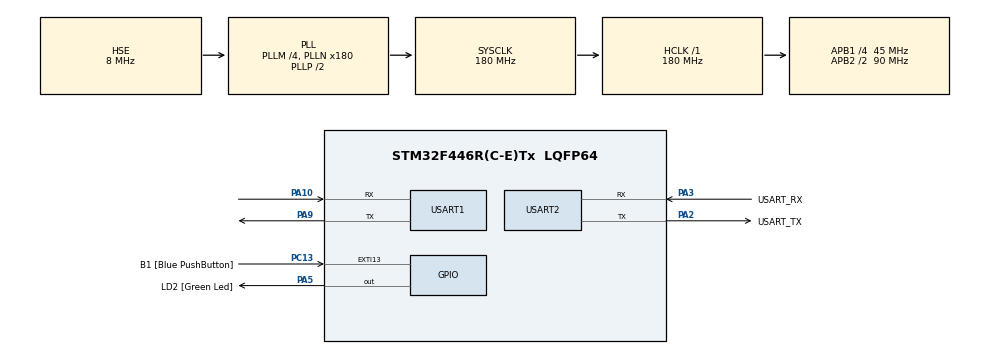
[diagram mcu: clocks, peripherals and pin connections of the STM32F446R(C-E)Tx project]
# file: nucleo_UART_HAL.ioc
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Mcu.Family=STM32F4
Mcu.Name=STM32F446R(C-E)Tx
Mcu.Package=LQFP64
NVIC.PriorityGroup=NVIC_PRIORITYGROUP_0
NVIC.TIM2_IRQn=true\:0\:0\:false\:false\:true\:true\:true\:true
PA10.Mode=Asynchronous
PA10.Signal=USART1_RX
PA13.GPIO_Label=TMS
PA13.Mode=Serial_Wire
PA13.Signal=SYS_JTMS-SWDIO
PA14.GPIO_Label=TCK
PA14.Mode=Serial_Wire
PA14.Signal=SYS_JTCK-SWCLK
PA2.GPIO_Label=USART_TX
PA2.Mode=Asynchronous
PA2.Signal=USART2_TX
PA3.GPIO_Label=USART_RX
PA3.Mode=Asynchronous
PA3.Signal=USART2_RX
PA5.GPIO_Label=LD2 [Green Led]
PA5.Signal=GPIO_Output
PA9.Mode=Asynchronous
PA9.Signal=USART1_TX
PB3.GPIO_Label=SWO
PB3.Signal=SYS_JTDO-SWO
PC13.GPIO_Label=B1 [Blue PushButton]
PC13.GPIO_ModeDefaultEXTI=GPIO_MODE_IT_FALLING
PC13.Signal=GPXTI13
PC14-OSC32_IN.Mode=LSE-External-Oscillator
PC14-OSC32_IN.Signal=RCC_OSC32_IN
PC15-OSC32_OUT.Mode=LSE-External-Oscillator
PC15-OSC32_OUT.Signal=RCC_OSC32_OUT
PH0-OSC_IN.Mode=HSE-External-Oscillator
PH0-OSC_IN.Signal=RCC_OSC_IN
PH1-OSC_OUT.Mode=HSE-External-Oscillator
PH1-OSC_OUT.Signal=RCC_OSC_OUT
ProjectManager.HeapSize=0x200
ProjectManager.StackSize=0x400
ProjectManager.TargetToolchain=STM32CubeIDE
RCC.48MHZClocksFreq_Value=84000000
RCC.AHBFreq_Value=180000000
RCC.APB1CLKDivider=RCC_HCLK_DIV4
RCC.APB1Freq_Value=45000000
RCC.APB1TimFreq_Value=90000000
RCC.APB2CLKDivider=RCC_HCLK_DIV2
RCC.APB2Freq_Value=90000000
RCC.APB2TimFreq_Value=180000000
RCC.CortexFreq_Value=180000000
RCC.FLatency-AdvancedSettings=FLASH_LATENCY_5
RCC.HCLKFreq_Value=180000000
RCC.HSE_VALUE=8000000
RCC.HSI_VALUE=16000000
RCC.PLLM=4
RCC.PLLN=180
RCC.PLLSourceVirtual=RCC_PLLSOURCE_HSE
RCC.SYSCLKFreq_VALUE=180000000
RCC.SYSCLKSource=RCC_SYSCLKSOURCE_PLLCLK
RCC.USBFreq_Value=180000000
RCC.VCOOutputFreq_Value=360000000
TIM2.Period=17999
TIM2.Prescaler=9999
USART1.VirtualMode=VM_ASYNC
USART2.VirtualMode=VM_ASYNC
VP_TIM2_VS_ClockSourceINT.Mode=Internal
board=NUCLEO-F446RE

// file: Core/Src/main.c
/* USER CODE BEGIN Header */
/**
  ******************************************************************************
  * @file           : main.c
  * @brief          : Main program body
  ******************************************************************************
  * @attention
  *
  * Copyright (c) 2025 STMicroelectronics.
  * All rights reserved.
  *
  * This software is licensed under terms that can be found in the LICENSE file
  * in the root directory of this software component.
  * If no LICENSE file comes with this software, it is provided AS-IS.
  *
  ******************************************************************************
  */
/* USER CODE END Header */
#include "main.h"

/* USER CODE BEGIN Includes */
#include <stdio.h>
/* USER CODE END Includes */

/* USER CODE BEGIN PD */
#define TICK_DELAY 1000
/* USER CODE END PD */

TIM_HandleTypeDef htim2;

UART_HandleTypeDef huart1;
UART_HandleTypeDef huart2;

/* USER CODE BEGIN PV */
uint8_t ding_flag;
/* USER CODE END PV */

void SystemClock_Config(void);
static void MX_GPIO_Init(void);
static void MX_USART2_UART_Init(void);
static void MX_USART1_UART_Init(void);
static void MX_TIM2_Init(void);

/* USER CODE BEGIN 0 */
// Send printf to uart1
int _write(int fd, char* ptr, int len) {
  HAL_StatusTypeDef hstatus;

  if (fd == 1 || fd == 2) {
    hstatus = HAL_UART_Transmit(&huart2, (uint8_t *) ptr, len, HAL_MAX_DELAY);
    if (hstatus == HAL_OK)
      return len;
    else
      return -1;
  }
  return -1;
}
void HAL_TIM_PeriodElapsedCallback(TIM_HandleTypeDef *htim){
	++ding_flag;
}
/* USER CODE END 0 */

int main(void)
{

  /* MCU Configuration--------------------------------------------------------*/

  /* Reset of all peripherals, Initializes the Flash interface and the Systick. */
  HAL_Init();

  /* Configure the system clock */
  SystemClock_Config();

  /* Initialize all configured peripherals */
  MX_GPIO_Init();
  MX_USART2_UART_Init();
  MX_USART1_UART_Init();
  MX_TIM2_Init();
  /* USER CODE BEGIN 2 */
  HAL_TIM_Base_Start_IT(&htim2);
  /* USER CODE END 2 */

  /* Infinite loop */
  /* USER CODE BEGIN WHILE */
  uint8_t arr[] = {'H','e','l','l','o',' ','w','o','r','l','d','\n'};
  uint32_t now = 0, next_tick = TICK_DELAY;
  while (1)
  {

	  now = HAL_GetTick();

	  if (now >= next_tick){
		  printf("Tick %lu\n",now/1000);
		  next_tick = now + TICK_DELAY;
	  }

	  if (ding_flag){
		  HAL_UART_Transmit(&huart1,arr, sizeof(arr), 1000);
		  ding_flag = 0;
	  }
    /* USER CODE END WHILE */

  }
}

void SystemClock_Config(void)
{
  RCC_OscInitTypeDef RCC_OscInitStruct = {0};
  RCC_ClkInitTypeDef RCC_ClkInitStruct = {0};

  /** Configure the main internal regulator output voltage
  */
  __HAL_RCC_PWR_CLK_ENABLE();
  __HAL_PWR_VOLTAGESCALING_CONFIG(PWR_REGULATOR_VOLTAGE_SCALE1);

  /** Initializes the RCC Oscillators according to the specified parameters
  * in the RCC_OscInitTypeDef structure.
  */
  RCC_OscInitStruct.OscillatorType = RCC_OSCILLATORTYPE_HSE;
  RCC_OscInitStruct.HSEState = RCC_HSE_ON;
  RCC_OscInitStruct.PLL.PLLState = RCC_PLL_ON;
  RCC_OscInitStruct.PLL.PLLSource = RCC_PLLSOURCE_HSE;
  RCC_OscInitStruct.PLL.PLLM = 4;
  RCC_OscInitStruct.PLL.PLLN = 180;
  RCC_OscInitStruct.PLL.PLLP = RCC_PLLP_DIV2;
  RCC_OscInitStruct.PLL.PLLQ = 2;
  RCC_OscInitStruct.PLL.PLLR = 2;
  if (HAL_RCC_OscConfig(&RCC_OscInitStruct) != HAL_OK)
  {
    Error_Handler();
  }

  /** Activate the Over-Drive mode
  */
  if (HAL_PWREx_EnableOverDrive() != HAL_OK)
  {
    Error_Handler();
  }

  /** Initializes the CPU, AHB and APB buses clocks
  */
  RCC_ClkInitStruct.ClockType = RCC_CLOCKTYPE_HCLK|RCC_CLOCKTYPE_SYSCLK
                              |RCC_CLOCKTYPE_PCLK1|RCC_CLOCKTYPE_PCLK2;
  RCC_ClkInitStruct.SYSCLKSource = RCC_SYSCLKSOURCE_PLLCLK;
  RCC_ClkInitStruct.AHBCLKDivider = RCC_SYSCLK_DIV1;
  RCC_ClkInitStruct.APB1CLKDivider = RCC_HCLK_DIV4;
  RCC_ClkInitStruct.APB2CLKDivider = RCC_HCLK_DIV2;

  if (HAL_RCC_ClockConfig(&RCC_ClkInitStruct, FLASH_LATENCY_5) != HAL_OK)
  {
    Error_Handler();
  }
}

static void MX_TIM2_Init(void)
{

  TIM_ClockConfigTypeDef sClockSourceConfig = {0};
  TIM_MasterConfigTypeDef sMasterConfig = {0};

  htim2.Instance = TIM2;
  htim2.Init.Prescaler = 9999;
  htim2.Init.CounterMode = TIM_COUNTERMODE_UP;
  htim2.Init.Period = 17999;
  htim2.Init.ClockDivision = TIM_CLOCKDIVISION_DIV1;
  htim2.Init.AutoReloadPreload = TIM_AUTORELOAD_PRELOAD_DISABLE;
  if (HAL_TIM_Base_Init(&htim2) != HAL_OK)
  {
    Error_Handler();
  }
  sClockSourceConfig.ClockSource = TIM_CLOCKSOURCE_INTERNAL;
  if (HAL_TIM_ConfigClockSource(&htim2, &sClockSourceConfig) != HAL_OK)
  {
    Error_Handler();
  }
  sMasterConfig.MasterOutputTrigger = TIM_TRGO_RESET;
  sMasterConfig.MasterSlaveMode = TIM_MASTERSLAVEMODE_DISABLE;
  if (HAL_TIMEx_MasterConfigSynchronization(&htim2, &sMasterConfig) != HAL_OK)
  {
    Error_Handler();
  }

}

static void MX_USART1_UART_Init(void)
{

  huart1.Instance = USART1;
  huart1.Init.BaudRate = 115200;
  huart1.Init.WordLength = UART_WORDLENGTH_8B;
  huart1.Init.StopBits = UART_STOPBITS_1;
  huart1.Init.Parity = UART_PARITY_NONE;
  huart1.Init.Mode = UART_MODE_TX_RX;
  huart1.Init.HwFlowCtl = UART_HWCONTROL_NONE;
  huart1.Init.OverSampling = UART_OVERSAMPLING_16;
  if (HAL_UART_Init(&huart1) != HAL_OK)
  {
    Error_Handler();
  }

}

static void MX_USART2_UART_Init(void)
{

  huart2.Instance = USART2;
  huart2.Init.BaudRate = 115200;
  huart2.Init.WordLength = UART_WORDLENGTH_8B;
  huart2.Init.StopBits = UART_STOPBITS_1;
  huart2.Init.Parity = UART_PARITY_NONE;
  huart2.Init.Mode = UART_MODE_TX_RX;
  huart2.Init.HwFlowCtl = UART_HWCONTROL_NONE;
  huart2.Init.OverSampling = UART_OVERSAMPLING_16;
  if (HAL_UART_Init(&huart2) != HAL_OK)
  {
    Error_Handler();
  }

}

static void MX_GPIO_Init(void)
{
  GPIO_InitTypeDef GPIO_InitStruct = {0};

  /* GPIO Ports Clock Enable */
  __HAL_RCC_GPIOC_CLK_ENABLE();
  __HAL_RCC_GPIOH_CLK_ENABLE();
  __HAL_RCC_GPIOA_CLK_ENABLE();
  __HAL_RCC_GPIOB_CLK_ENABLE();

  /*Configure GPIO pin Output Level */
  HAL_GPIO_WritePin(LD2_GPIO_Port, LD2_Pin, GPIO_PIN_RESET);

  /*Configure GPIO pin : B1_Pin */
  GPIO_InitStruct.Pin = B1_Pin;
  GPIO_InitStruct.Mode = GPIO_MODE_IT_FALLING;
  GPIO_InitStruct.Pull = GPIO_NOPULL;
  HAL_GPIO_Init(B1_GPIO_Port, &GPIO_InitStruct);

  /*Configure GPIO pin : LD2_Pin */
  GPIO_InitStruct.Pin = LD2_Pin;
  GPIO_InitStruct.Mode = GPIO_MODE_OUTPUT_PP;
  GPIO_InitStruct.Pull = GPIO_NOPULL;
  GPIO_InitStruct.Speed = GPIO_SPEED_FREQ_LOW;
  HAL_GPIO_Init(LD2_GPIO_Port, &GPIO_InitStruct);

}

void Error_Handler(void)
{
  __disable_irq();
  while (1)
  {
  }
}
